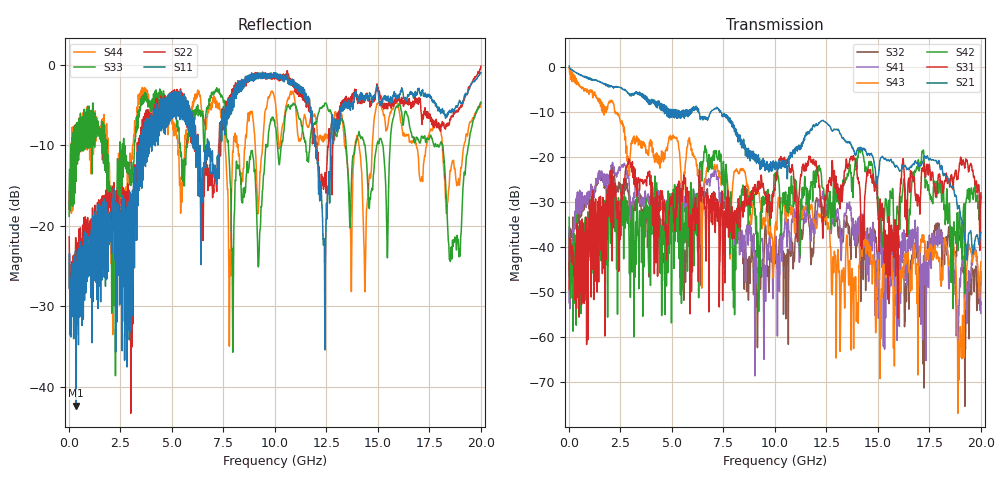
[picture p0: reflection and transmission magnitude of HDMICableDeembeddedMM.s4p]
! File created by SignalIntegrity v1.4.3: Signal and Power Integrity Tools
! https://github.com/Nubis-Communications/SignalIntegrity
# MHz S MA R 50.0
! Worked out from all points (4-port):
!   4000 points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, 5 MHz to 20 GHz, reference 50 ohm
!   strongest paths, dB at 5 MHz, 5.005 GHz, 10.01 GHz, 15.01 GHz, 20 GHz:
!     S21: 0.2, -10.8, -22.6, -24.3, -36.7
!     S31: -49.4, -30.5, -27.0, -32.6, -27.9
!     S42: -33.3, -29.1, -24.1, -29.8, -28.6
!     S43: -0.1, -15.9, -35.4, -42.9, -43.2
!     S41: -35.5, -32.4, -42.1, -43.2, -54.7
!     S32: -45.0, -34.8, -43.5, -49.4, -45.6
!   lowest |S11| = -42.4 dB at 350 MHz (marker M1), VSWR 1.02, Z = 50.2 + j0.742 ohm
!   |S11| at or under -10 dB: start of sweep to 3.438 GHz; 6.789 GHz to 7.307 GHz (518.2 MHz wide, 7.35 % of centre); 11.98 GHz to 12.71 GHz (733.6 MHz wide, 5.94 % of centre)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
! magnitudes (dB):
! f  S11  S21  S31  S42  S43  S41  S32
! 5 MHz  -27.7  0.2  -49.4  -33.3  -0.1  -35.5  -45.0
! 350 MHz  -42.4  -1.2  -42.6  -57.3  -2.7  -29.1  -30.3
! 2.91 GHz  -18.0  -6.0  -20.8  -36.9  -22.7  -24.9  -29.2
! 13.79 GHz  -5.5  -17.9  -20.5  -29.0  -50.0  -35.2  -33.9
! 15.52 GHz  -4.3  -20.6  -39.3  -30.3  -46.3  -42.4  -49.9
! 16.19 GHz  -3.2  -22.2  -21.5  -28.1  -44.6  -36.8  -42.4
! 20 GHz  -1.0  -36.7  -27.9  -28.6  -43.2  -54.7  -45.6
